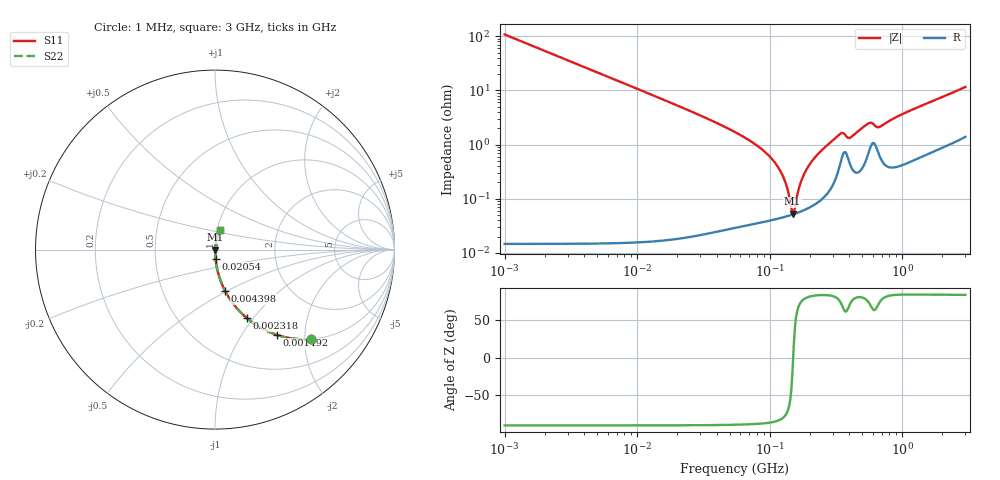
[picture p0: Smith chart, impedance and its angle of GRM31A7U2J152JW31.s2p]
!Murata Part Number: GRM31A7U2J152JW31
!These Parameters are Measured in Series Mode Connection
!Data Generated on Mar 30, 2021
!  o--ll--o
!Port1  Port2
!  o------o
!Operation Temp=25[degC], DC Bias Voltage=0[V]
!Freq. Start=1000[kHz] Stop=3[GHz] 401[Steps]
# Hz S RI R 50
!Freq.(Hz) S11(Real) S11(Imag) S21(Real) S21(Imag) S12(Real) S12(Imag) S22(Real) S22(Imag)
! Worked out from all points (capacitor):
!   401 points, 1 MHz to 3 GHz, reference 50 ohm
!   read as one part in series: C = 1.48 nF near 1.041 MHz
!   lowest |Z| = 53.1 mohm at 149 MHz (marker M1)
!   series resonance near 150.5 MHz, so ESL is about 760 pH
!   S11 on the Smith chart (normalised r, x): 1 MHz: 1.00, -2.16; 1.492 MHz: 1.00, -1.44; 2.318 MHz: 1.00, -0.93; 4.398 MHz: 1.00, -0.49; 20.54 MHz: 1.00, -0.10; 3 GHz: 1.03, +0.23
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1000000  0.5373 -0.4985  0.4627 0.4985  0.4627 0.4985  0.5373 -0.4985
1492300  0.3428 -0.4745  0.6572 0.4745  0.6572 0.4745  0.3428 -0.4745
2317916  0.1778 -0.3822  0.8222 0.3822  0.8222 0.3822  0.1778 -0.3822
3823119  0.0736 -0.2609  0.9264 0.2609  0.9264 0.2609  0.0736 -0.2609
4398124  0.0567 -0.2309  0.9433 0.2309  0.9433 0.2309  0.0567 -0.2309
1.461624e7  0.00546 -0.0726  0.9945 0.0726  0.9945 0.0726  0.00546 -0.0726
2.054061e7  0.00282 -0.0513  0.9972 0.0513  0.9972 0.0513  0.00282 -0.0513
5.477226e7  0.000578 -0.017  0.9994 0.017  0.9994 0.017  0.000578 -0.017
8.338914e7  0.000437 -0.00893  0.9996 0.00893  0.9996 0.00893  0.000437 -0.00893
1.103592e8  0.000437 -0.00451  0.9996 0.00451  0.9996 0.00451  0.000437 -0.00451
1.295243e8  0.000465 -0.00216  0.9995 0.00216  0.9995 0.00216  0.000465 -0.00216
1.49005e8  0.000511 -0.000143  0.9995 0.000143  0.9995 0.000143  0.000511 -0.000143
1.550909e8  0.000528 0.000435  0.9995 -0.000435  0.9995 -0.000435  0.000528 0.000435
1.680187e8  0.00057 0.0016  0.9994 -0.0016  0.9994 -0.0016  0.00057 0.0016
1.784169e8  0.000609 0.00249  0.9994 -0.00249  0.9994 -0.00249  0.000609 0.00249
2.094008e8  0.000755 0.00495  0.9992 -0.00495  0.9992 -0.00495  0.000755 0.00495
3.385367e8  0.00432 0.0148  0.9957 -0.0148  0.9957 -0.0148  0.00432 0.0148
4.0536e8  0.00441 0.0126  0.9956 -0.0126  0.9956 -0.0126  0.00441 0.0126
5.583748e8  0.00759 0.0233  0.9924 -0.0233  0.9924 -0.0233  0.00759 0.0233
6.685918e8  0.00688 0.0197  0.9931 -0.0197  0.9931 -0.0197  0.00688 0.0197
8.005644e8  0.00452 0.0269  0.9955 -0.0269  0.9955 -0.0269  0.00452 0.0269
3e9  0.0262 0.1105  0.9738 -0.1105  0.9738 -0.1105  0.0262 0.1105
